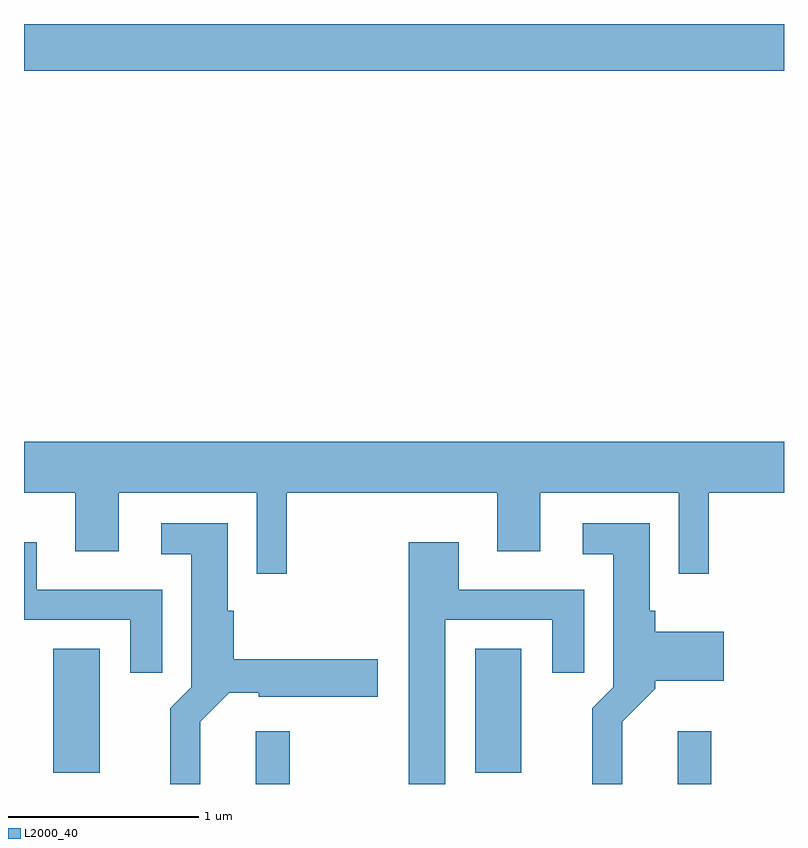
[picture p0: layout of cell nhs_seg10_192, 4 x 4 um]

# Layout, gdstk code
import gdstk
lib = gdstk.Library(unit=1e-6, precision=1e-09)
def R(c, l, rs):  # rectangles x0, y0, x1, y1
    for r in rs: c.add(gdstk.rectangle(r[:2], r[2:], *l))
def P(c, l, *ps):  # polygons
    for p in ps: c.add(gdstk.Polygon(p, *l))
L2000_40 = (2000, 40)

nhs_seg10_192 = lib.new_cell('nhs_seg10_192')
R(nhs_seg10_192, L2000_40, [(190.831,2194.522,191.009,2194.799), (193.051,2194.522,193.229,2194.799), (189.766,2194.581,190.009,2195.234), (191.986,2194.581,192.229,2195.234), (189.611,2198.276,193.611,2198.522)])
P(nhs_seg10_192, L2000_40, [(190.994,2196.056),(192.101,2196.056),(192.101,2195.746),(192.329,2195.746),(192.329,2196.056),(193.056,2196.056),(193.056,2195.628),(193.214,2195.628),(193.214,2196.056),(193.611,2196.056),(193.611,2196.324),(189.611,2196.324),(189.611,2196.056),(189.881,2196.056),(189.881,2195.746),(190.109,2195.746),(190.109,2196.056),(190.836,2196.056),(190.836,2195.628),(190.994,2195.628)],
  [(192.759,2194.849),(192.934,2195.024),(192.934,2195.066),(193.294,2195.066),(193.294,2195.324),(192.934,2195.324),(192.934,2195.434),(192.904,2195.434),(192.904,2195.894),(192.553,2195.894),(192.553,2195.731),(192.711,2195.731),(192.711,2195.032),(192.601,2194.922),(192.601,2194.522),(192.759,2194.522)],
  [(190.539,2194.849),(190.692,2195.001),(190.846,2195.001),(190.846,2194.981),(191.474,2194.981),(191.474,2195.179),(190.714,2195.179),(190.714,2195.434),(190.684,2195.434),(190.684,2195.894),(190.333,2195.894),(190.333,2195.731),(190.491,2195.731),(190.491,2195.032),(190.381,2194.922),(190.381,2194.522),(190.539,2194.522)],
  [(190.339,2195.544),(189.679,2195.544),(189.679,2195.794),(189.611,2195.794),(189.611,2195.386),(190.171,2195.386),(190.171,2195.108),(190.339,2195.108)],
  [(191.829,2195.386),(192.391,2195.386),(192.391,2195.108),(192.559,2195.108),(192.559,2195.544),(191.899,2195.544),(191.899,2195.794),(191.636,2195.794),(191.636,2194.522),(191.829,2194.522)])

lib.write_gds('nhs_seg10_192.gds')
